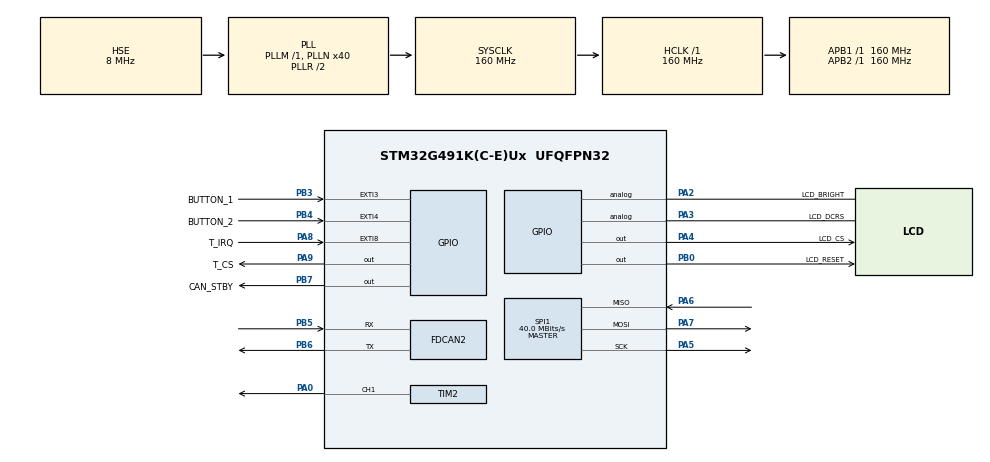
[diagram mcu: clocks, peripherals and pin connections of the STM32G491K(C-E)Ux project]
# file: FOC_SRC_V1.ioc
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Dma.Request0=SPI1_RX
Dma.Request1=TIM2_CH1
Dma.SPI1_RX.0.Direction=DMA_PERIPH_TO_MEMORY
Dma.SPI1_RX.0.EventEnable=DISABLE
Dma.SPI1_RX.0.Instance=DMA1_Channel1
Dma.SPI1_RX.0.MemDataAlignment=DMA_MDATAALIGN_BYTE
Dma.SPI1_RX.0.MemInc=DMA_MINC_ENABLE
Dma.SPI1_RX.0.Mode=DMA_NORMAL
Dma.SPI1_RX.0.PeriphDataAlignment=DMA_PDATAALIGN_BYTE
Dma.SPI1_RX.0.PeriphInc=DMA_PINC_DISABLE
Dma.SPI1_RX.0.Polarity=HAL_DMAMUX_REQ_GEN_RISING
Dma.SPI1_RX.0.Priority=DMA_PRIORITY_LOW
Dma.SPI1_RX.0.RequestNumber=1
Dma.SPI1_RX.0.SignalID=NONE
Dma.SPI1_RX.0.SyncEnable=DISABLE
Dma.SPI1_RX.0.SyncPolarity=HAL_DMAMUX_SYNC_NO_EVENT
Dma.SPI1_RX.0.SyncRequestNumber=1
Dma.SPI1_RX.0.SyncSignalID=NONE
Dma.TIM2_CH1.1.Direction=DMA_MEMORY_TO_PERIPH
Dma.TIM2_CH1.1.EventEnable=DISABLE
Dma.TIM2_CH1.1.Instance=DMA1_Channel2
Dma.TIM2_CH1.1.MemDataAlignment=DMA_MDATAALIGN_BYTE
Dma.TIM2_CH1.1.MemInc=DMA_MINC_ENABLE
Dma.TIM2_CH1.1.Mode=DMA_NORMAL
Dma.TIM2_CH1.1.PeriphDataAlignment=DMA_PDATAALIGN_WORD
Dma.TIM2_CH1.1.PeriphInc=DMA_PINC_DISABLE
Dma.TIM2_CH1.1.Polarity=HAL_DMAMUX_REQ_GEN_RISING
Dma.TIM2_CH1.1.Priority=DMA_PRIORITY_LOW
Dma.TIM2_CH1.1.RequestNumber=1
Dma.TIM2_CH1.1.SignalID=NONE
Dma.TIM2_CH1.1.SyncEnable=DISABLE
Dma.TIM2_CH1.1.SyncPolarity=HAL_DMAMUX_SYNC_NO_EVENT
Dma.TIM2_CH1.1.SyncRequestNumber=1
Dma.TIM2_CH1.1.SyncSignalID=NONE
FDCAN2.AutoRetransmission=DISABLE
FDCAN2.CalculateBaudRateNominal=1000000
FDCAN2.CalculateTimeBitNominal=1000
FDCAN2.CalculateTimeQuantumNominal=125.0
FDCAN2.DataPrescaler=1
FDCAN2.DataSyncJumpWidth=1
FDCAN2.DataTimeSeg1=1
FDCAN2.DataTimeSeg2=2
FDCAN2.FrameFormat=FDCAN_FRAME_FD_BRS
FDCAN2.Mode=FDCAN_MODE_NORMAL
FDCAN2.NominalPrescaler=1
FDCAN2.NominalSyncJumpWidth=2
FDCAN2.NominalTimeSeg1=5
FDCAN2.NominalTimeSeg2=2
FDCAN2.StdFiltersNbr=5
FREERTOS.BinarySemaphores01=canSemaphore,Static,canSemaphoreControlBlock,Depleted
FREERTOS.Tasks01=defaultTask,24,512,StartDefaultTask,Default,NULL,Static,defaultTaskBuffer,defaultTaskControlBlock;canReceiveMsg,25,512,StartCanReceive,Default,NULL,Static,CanReceiveMsgBuffer,CanReceiveMsgControlBlock;canSendMsg,26,512,StartCanSend,Default,NULL,Static,CanSendMsgBuffer,CanSendMsgControlBlock
FREERTOS.configENABLE_FPU=1
FREERTOS.configUSE_NEWLIB_REENTRANT=1
FREERTOS.copyHeapFile=1
Mcu.Family=STM32G4
Mcu.Name=STM32G491K(C-E)Ux
Mcu.Package=UFQFPN32
NVIC.DMA1_Channel1_IRQn=true\:5\:0\:false\:false\:true\:true\:true\:true\:true
NVIC.DMA1_Channel2_IRQn=true\:5\:0\:false\:false\:true\:true\:true\:true\:true
NVIC.EXTI3_IRQn=true\:5\:0\:false\:false\:true\:true\:true\:true\:true
NVIC.EXTI4_IRQn=true\:5\:0\:false\:false\:true\:true\:true\:true\:true
NVIC.EXTI9_5_IRQn=true\:5\:0\:false\:false\:true\:true\:true\:true\:true
NVIC.FDCAN2_IT0_IRQn=true\:5\:0\:false\:false\:true\:true\:true\:true\:true
NVIC.FDCAN2_IT1_IRQn=true\:5\:0\:false\:false\:true\:true\:true\:true\:true
NVIC.PriorityGroup=NVIC_PRIORITYGROUP_4
NVIC.TIM20_UP_IRQn=true\:15\:0\:false\:false\:true\:false\:false\:true\:true
NVIC.TIM2_IRQn=true\:5\:0\:false\:false\:true\:true\:true\:true\:true
NVIC.TimeBase=TIM20_UP_IRQn
NVIC.TimeBaseIP=TIM20
PA0.Signal=S_TIM2_CH1
PA13.Mode=Serial_Wire
PA13.Signal=SYS_JTMS-SWDIO
PA14.Mode=Serial_Wire
PA14.Signal=SYS_JTCK-SWCLK
PA2.GPIO_Label=LCD_BRIGHT
PA2.Signal=GPIO_Analog
PA3.GPIO_Label=LCD_DCRS
PA3.Signal=GPIO_Analog
PA4.GPIO_Label=LCD_CS
PA4.Signal=GPIO_Output
PA5.Mode=Full_Duplex_Master
PA5.Signal=SPI1_SCK
PA6.Mode=Full_Duplex_Master
PA6.Signal=SPI1_MISO
PA7.Mode=Full_Duplex_Master
PA7.Signal=SPI1_MOSI
PA8.GPIO_Label=T_IRQ
PA8.Signal=GPXTI8
PA9.GPIO_Label=T_CS
PA9.Signal=GPIO_Output
PB0.GPIO_Label=LCD_RESET
PB0.Signal=GPIO_Output
PB3.GPIO_Label=BUTTON_1
PB3.GPIO_ModeDefaultEXTI=GPIO_MODE_IT_RISING
PB3.GPIO_PuPd=GPIO_PULLUP
PB3.Signal=GPXTI3
PB4.GPIO_Label=BUTTON_2
PB4.GPIO_ModeDefaultEXTI=GPIO_MODE_IT_FALLING
PB4.GPIO_PuPd=GPIO_PULLUP
PB4.Signal=GPXTI4
PB5.GPIO_Mode=GPIO_MODE_AF_PP
PB5.GPIO_PuPd=GPIO_PULLUP
PB5.GPIO_Speed=GPIO_SPEED_FREQ_LOW
PB5.Mode=FDCAN_Activate
PB5.Signal=FDCAN2_RX
PB6.GPIO_FM6=__NULL
PB6.GPIO_Mode=GPIO_MODE_AF_PP
PB6.GPIO_PuPd=GPIO_NOPULL
PB6.GPIO_Speed=GPIO_SPEED_FREQ_LOW
PB6.Mode=FDCAN_Activate
PB6.Signal=FDCAN2_TX
PB7.GPIO_Label=CAN_STBY
PB7.GPIO_PuPd=GPIO_NOPULL
PB7.Signal=GPIO_Output
PF0-OSC_IN.Mode=HSE-External-Clock-Source
PF0-OSC_IN.Signal=RCC_OSC_IN
ProjectManager.HeapSize=0x400
ProjectManager.StackSize=0x800
ProjectManager.TargetToolchain=STM32CubeIDE
RCC.ADC12Freq_Value=160000000
RCC.ADC345Freq_Value=160000000
RCC.AHBFreq_Value=160000000
RCC.APB1Freq_Value=160000000
RCC.APB1TimFreq_Value=160000000
RCC.APB2Freq_Value=160000000
RCC.APB2TimFreq_Value=160000000
RCC.CortexFreq_Value=160000000
RCC.EXTERNAL_CLOCK_VALUE=12288000
RCC.FDCANCLockSelection=RCC_FDCANCLKSOURCE_HSE
RCC.HCLKFreq_Value=160000000
RCC.HSE_VALUE=8000000
RCC.HSI48_VALUE=48000000
RCC.HSI_VALUE=16000000
RCC.LSE_VALUE=32768
RCC.PLLN=40
RCC.PLLQ=RCC_PLLQ_DIV4
RCC.PLLSourceVirtual=RCC_PLLSOURCE_HSE
RCC.SYSCLKFreq_VALUE=160000000
RCC.SYSCLKSource=RCC_SYSCLKSOURCE_PLLCLK
RCC.USBFreq_Value=48000000
RCC.VCOOutputFreq_Value=320000000
SH.S_TIM2_CH1.0=TIM2_CH1,PWM Generation1 CH1
SPI1.BaudRatePrescaler=SPI_BAUDRATEPRESCALER_4
SPI1.CalculateBaudRate=40.0 MBits/s
SPI1.Direction=SPI_DIRECTION_2LINES
SPI1.Mode=SPI_MODE_MASTER
SPI1.VirtualType=VM_MASTER
TIM1.AutoReloadPreload=TIM_AUTORELOAD_PRELOAD_ENABLE
TIM2.AutoReloadPreload=TIM_AUTORELOAD_PRELOAD_ENABLE
TIM2.Channel-PWM\ Generation1\ CH1=TIM_CHANNEL_1
TIM2.PeriodNoDither=100-1
TIM2.Prescaler=2-1
TIM3.AutoReloadPreload=TIM_AUTORELOAD_PRELOAD_ENABLE
VP_FREERTOS_VS_CMSIS_V2.Mode=CMSIS_V2
VP_SYS_VS_DBSignals.Mode=DisableDeadBatterySignals
VP_SYS_VS_tim20.Mode=TIM20
VP_TIM1_VS_ClockSourceINT.Mode=Internal
VP_TIM2_VS_ClockSourceINT.Mode=Internal
VP_TIM3_VS_ClockSourceINT.Mode=Internal
board=custom

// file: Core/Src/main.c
/* USER CODE BEGIN Header */
/**
  ******************************************************************************
  * @file           : main.c
  * @brief          : Main program body
  ******************************************************************************
  * @attention
  *
  * Copyright (c) 2025 STMicroelectronics.
  * All rights reserved.
  *
  * This software is licensed under terms that can be found in the LICENSE file
  * in the root directory of this software component.
  * If no LICENSE file comes with this software, it is provided AS-IS.
  *
  ******************************************************************************
  */
/* USER CODE END Header */
#include "main.h"
#include "cmsis_os.h"
#include "dma.h"
#include "fdcan.h"
#include "spi.h"
#include "tim.h"
#include "gpio.h"

void SystemClock_Config(void);
void MX_FREERTOS_Init(void);

int main(void)
{

  /* MCU Configuration--------------------------------------------------------*/

  /* Reset of all peripherals, Initializes the Flash interface and the Systick. */
  HAL_Init();

  /* Configure the system clock */
  SystemClock_Config();

  /* Initialize all configured peripherals */
  MX_GPIO_Init();
  MX_DMA_Init();
  MX_FDCAN2_Init();
  MX_TIM1_Init();
  MX_TIM3_Init();
  MX_TIM2_Init();
  MX_SPI1_Init();

  /* Init scheduler */
  osKernelInitialize();

  /* Call init function for freertos objects (in cmsis_os2.c) */
  MX_FREERTOS_Init();

  /* Start scheduler */
  osKernelStart();

  /* We should never get here as control is now taken by the scheduler */

  /* Infinite loop */
  while (1)
  {

  }
}

void SystemClock_Config(void)
{
  RCC_OscInitTypeDef RCC_OscInitStruct = {0};
  RCC_ClkInitTypeDef RCC_ClkInitStruct = {0};

  /** Configure the main internal regulator output voltage
  */
  HAL_PWREx_ControlVoltageScaling(PWR_REGULATOR_VOLTAGE_SCALE1_BOOST);

  /** Initializes the RCC Oscillators according to the specified parameters
  * in the RCC_OscInitTypeDef structure.
  */
  RCC_OscInitStruct.OscillatorType = RCC_OSCILLATORTYPE_HSE;
  RCC_OscInitStruct.HSEState = RCC_HSE_BYPASS;
  RCC_OscInitStruct.PLL.PLLState = RCC_PLL_ON;
  RCC_OscInitStruct.PLL.PLLSource = RCC_PLLSOURCE_HSE;
  RCC_OscInitStruct.PLL.PLLM = RCC_PLLM_DIV1;
  RCC_OscInitStruct.PLL.PLLN = 40;
  RCC_OscInitStruct.PLL.PLLP = RCC_PLLP_DIV2;
  RCC_OscInitStruct.PLL.PLLQ = RCC_PLLQ_DIV4;
  RCC_OscInitStruct.PLL.PLLR = RCC_PLLR_DIV2;
  if (HAL_RCC_OscConfig(&RCC_OscInitStruct) != HAL_OK)
  {
    Error_Handler();
  }

  /** Initializes the CPU, AHB and APB buses clocks
  */
  RCC_ClkInitStruct.ClockType = RCC_CLOCKTYPE_HCLK|RCC_CLOCKTYPE_SYSCLK
                              |RCC_CLOCKTYPE_PCLK1|RCC_CLOCKTYPE_PCLK2;
  RCC_ClkInitStruct.SYSCLKSource = RCC_SYSCLKSOURCE_PLLCLK;
  RCC_ClkInitStruct.AHBCLKDivider = RCC_SYSCLK_DIV1;
  RCC_ClkInitStruct.APB1CLKDivider = RCC_HCLK_DIV1;
  RCC_ClkInitStruct.APB2CLKDivider = RCC_HCLK_DIV1;

  if (HAL_RCC_ClockConfig(&RCC_ClkInitStruct, FLASH_LATENCY_4) != HAL_OK)
  {
    Error_Handler();
  }
}

void HAL_TIM_PeriodElapsedCallback(TIM_HandleTypeDef *htim)
{
  if (htim->Instance == TIM20) {
    HAL_IncTick();
  }
}

void Error_Handler(void)
{
  __disable_irq();
  while (1)
  {
  }
}

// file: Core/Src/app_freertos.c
/* USER CODE BEGIN Header */
/**
 ******************************************************************************
 * File Name          : app_freertos.c
 * Description        : Code for freertos applications
 ******************************************************************************
 * @attention
 *
 * Copyright (c) 2025 STMicroelectronics.
 * All rights reserved.
 *
 * This software is licensed under terms that can be found in the LICENSE file
 * in the root directory of this software component.
 * If no LICENSE file comes with this software, it is provided AS-IS.
 *
 ******************************************************************************
 */
/* USER CODE END Header */

#include "FreeRTOS.h"
#include "cmsis_os.h"
#include "cmsis_os2.h"
#include "main.h"
#include "task.h"

/* USER CODE BEGIN Includes */
#include "ecocar_can.h"
#include "exported_typedef.h"
#include "fdcan.h"
#include "tim.h"
#include "ws2812.h"
#include <math.h>
#include <stdint.h>
#include <string.h>
#include <stdbool.h>
/* USER CODE END Includes */

typedef StaticTask_t osStaticThreadDef_t;
typedef StaticSemaphore_t osStaticSemaphoreDef_t;
/* USER CODE BEGIN PTD */
typedef StaticQueue_t osStaticMessageQDef_t;
/* USER CODE END PTD */

/* USER CODE BEGIN Variables */
FDCAN_FccPack_t fcc_data;
FDCAN_FetPack_t fet_data;
FDCAN_H2Pack_t h2_data;
FDCAN_BOOSTPack_t boost_data;
uint8_t can_sync_led;

bool btn1_pressed = false;
uint32_t ticks, lastTicks = 0;

bool btn2_pressed = false;
uint32_t ticks2, lastTicks2 = 0;

rbState_t relay_state;
FDCAN_RelPackFc_t relay_fc_pack; // Fuel Cell Reading
FDCAN_RelPackCap_t relay_cap_pack;
FDCAN_RelPackMtr_t relay_motor_pack;
/* USER CODE END Variables */
/* Definitions for defaultTask */
osThreadId_t defaultTaskHandle;
uint32_t defaultTaskBuffer[512];
osStaticThreadDef_t defaultTaskControlBlock;
const osThreadAttr_t defaultTask_attributes = {
    .name = "defaultTask",
    .stack_mem = &defaultTaskBuffer[0],
    .stack_size = sizeof(defaultTaskBuffer),
    .cb_mem = &defaultTaskControlBlock,
    .cb_size = sizeof(defaultTaskControlBlock),
    .priority = (osPriority_t)osPriorityNormal,
};
/* Definitions for canReceiveMsg */
osThreadId_t canReceiveMsgHandle;
uint32_t CanReceiveMsgBuffer[512];
osStaticThreadDef_t CanReceiveMsgControlBlock;
const osThreadAttr_t canReceiveMsg_attributes = {
    .name = "canReceiveMsg",
    .stack_mem = &CanReceiveMsgBuffer[0],
    .stack_size = sizeof(CanReceiveMsgBuffer),
    .cb_mem = &CanReceiveMsgControlBlock,
    .cb_size = sizeof(CanReceiveMsgControlBlock),
    .priority = (osPriority_t)osPriorityNormal1,
};
/* Definitions for canSendMsg */
osThreadId_t canSendMsgHandle;
uint32_t CanSendMsgBuffer[512];
osStaticThreadDef_t CanSendMsgControlBlock;
const osThreadAttr_t canSendMsg_attributes = {
    .name = "canSendMsg",
    .stack_mem = &CanSendMsgBuffer[0],
    .stack_size = sizeof(CanSendMsgBuffer),
    .cb_mem = &CanSendMsgControlBlock,
    .cb_size = sizeof(CanSendMsgControlBlock),
    .priority = (osPriority_t)osPriorityNormal2,
};
/* Definitions for canSemaphore */
osSemaphoreId_t canSemaphoreHandle;
osStaticSemaphoreDef_t canSemaphoreControlBlock;
const osSemaphoreAttr_t canSemaphore_attributes = {
    .name = "canSemaphore",
    .cb_mem = &canSemaphoreControlBlock,
    .cb_size = sizeof(canSemaphoreControlBlock),
};

/* USER CODE BEGIN FunctionPrototypes */
/* Definitions for canQueRxHeader */
osMessageQueueId_t canQueRxHeaderHandle;
uint8_t canReceiveQueBuffer[512 * sizeof(uint32_t)];
osStaticMessageQDef_t canReceiveQueControlBlock;
const osMessageQueueAttr_t canQueRxHeader_attributes = {
    .name = "canQueRxHeader",
    .cb_mem = &canReceiveQueControlBlock,
    .cb_size = sizeof(canReceiveQueControlBlock),
    .mq_mem = &canReceiveQueBuffer,
    .mq_size = sizeof(canReceiveQueBuffer)};
/* Definitions for canQueRxData */
osMessageQueueId_t canQueRxDataHandle;
uint8_t canQueRxDataBuffer[512 * sizeof(uint8_t)];
osStaticMessageQDef_t canQueRxDataControlBlock;
const osMessageQueueAttr_t canQueRxData_attributes = {
    .name = "canQueRxData",
    .cb_mem = &canQueRxDataControlBlock,
    .cb_size = sizeof(canQueRxDataControlBlock),
    .mq_mem = &canQueRxDataBuffer,
    .mq_size = sizeof(canQueRxDataBuffer)};

// Callback needed for LEDs
void HAL_TIM_PWM_PulseFinishedCallback(TIM_HandleTypeDef *htim)
{
  if (htim->Instance == htim2.Instance)
  {
    WS2812_Callback();
  }
}

void HAL_FDCAN_RxFifo0Callback(FDCAN_HandleTypeDef *hfdcan,
                               uint32_t RxFifo0ITs)
{
  FDCAN_RxHeaderTypeDef RxHeader;
  uint8_t RxData[64];
  if ((RxFifo0ITs & FDCAN_IT_RX_FIFO0_NEW_MESSAGE) != RESET)
  {
    /* Retreive Rx messages from RX FIFO0 */
    if (HAL_FDCAN_GetRxMessage(hfdcan, FDCAN_RX_FIFO0, &RxHeader, RxData) !=
        HAL_OK)
    {
      /* Reception Error */
      Error_Handler();
    }
    if (HAL_FDCAN_ActivateNotification(hfdcan, FDCAN_IT_RX_FIFO0_NEW_MESSAGE,
                                       0) != HAL_OK)
    {
      /* Notification Error */
      Error_Handler();
    }
    osMessageQueuePut(canQueRxHeaderHandle, &RxHeader.Identifier, 0, 0);
    osMessageQueuePut(canQueRxHeaderHandle, &RxHeader.DataLength, 0, 0);
    for (uint32_t i = 0; i < mapDlcToBytes(RxHeader.DataLength); i++)
    {
      osMessageQueuePut(canQueRxDataHandle, &RxData[i], 0, 0);
    }
  }
}
/* USER CODE END FunctionPrototypes */

void StartDefaultTask(void *argument);
void StartCanReceive(void *argument);
void StartCanSend(void *argument);

void MX_FREERTOS_Init(void); /* (MISRA C 2004 rule 8.1) */

void MX_FREERTOS_Init(void)
{

  /* Create the semaphores(s) */
  /* creation of canSemaphore */
  canSemaphoreHandle = osSemaphoreNew(1, 0, &canSemaphore_attributes);

  /* USER CODE BEGIN RTOS_QUEUES */
  /* add queues, ... */
  canQueRxHeaderHandle =
      osMessageQueueNew(512, sizeof(uint32_t), &canQueRxHeader_attributes);

  /* creation of canQueRxData */
  canQueRxDataHandle =
      osMessageQueueNew(512, sizeof(uint8_t), &canQueRxData_attributes);
  /* USER CODE END RTOS_QUEUES */

  /* Create the thread(s) */
  /* creation of defaultTask */
  defaultTaskHandle =
      osThreadNew(StartDefaultTask, NULL, &defaultTask_attributes);

  /* creation of canReceiveMsg */
  canReceiveMsgHandle =
      osThreadNew(StartCanReceive, NULL, &canReceiveMsg_attributes);

  /* creation of canSendMsg */
  canSendMsgHandle = osThreadNew(StartCanSend, NULL, &canSendMsg_attributes);

}

void StartDefaultTask(void *argument)
{
  /* USER CODE BEGIN StartDefaultTask */
  if (WS2812_Init() != HAL_OK)
  {
    Error_Handler();
  }

  /* Infinite loop */
  HAL_StatusTypeDef hal_stat;
  for (;;)
  {
    switch (relay_state)
    {
    case RELAY_STBY:
      hal_stat = WS2812_Standby_Animation(500);
      // hal_stat = WS2812_Startup_Animation(500);
      // hal_stat = WS2812_Charging_Animation(500);
      // hal_stat = WS2812_Running_Animation(100);
      break;
    case RELAY_STRTP:
      hal_stat = WS2812_Startup_Animation(500);
      break;
    case RELAY_CHRGE:
      hal_stat = WS2812_Charging_Animation(400);
      break;
    case RELAY_RUN:
      hal_stat = WS2812_Running_Animation(300);
      break;
    default:
      hal_stat = WS2812_Startup_Animation(400);
      break;
    }
    /* USER CODE END StartDefaultTask */
  }
}

/* USER CODE BEGIN Header_StartCanReceive */
/**
 * @brief Function implementing the canReceiveMsg thread.333
 * @param argument: Not used
 * @retval None
 */
/* USER CODE END Header_StartCanReceive */
void StartCanReceive(void *argument)
{
  /* USER CODE BEGIN StartCanReceive */
  /**
   * THIS SECTION OF CODE UTILIZES A HIGHER PRIORITY SO NO BLOCKING
   * IS ALLOWED TO BE USED OTHER THAN THE SEMAPHORE
   */
  UNUSED(argument);
  FDCAN_RxHeaderTypeDef localRxHeader = {0};
  uint8_t ret[64] = {0};
  /* Infinite loop */
  for (;;)
  {
    if (osMessageQueueGet(canQueRxHeaderHandle, &localRxHeader.Identifier, 0,
                          osWaitForever) == osOK)
    {
      if (osMessageQueueGet(canQueRxHeaderHandle, &localRxHeader.DataLength, 0,
                            0) != osOK)
      {
        Error_Handler();
      }
      for (uint8_t i = 0; i < mapDlcToBytes(localRxHeader.DataLength); i++)
      {
        if (osMessageQueueGet(canQueRxDataHandle, &ret[i], 0, 0) != osOK)
        {
          Error_Handler();
        }
      }
      switch (localRxHeader.Identifier)
      {
      case FDCAN_H2ALARM_ID:
        // H2 ALARM
        if (ret[0] == 1)
        {
        }
        break;
      case FDCAN_SYNCLED_ID:
        // CAN SYNC LED
        can_sync_led = ret[0];
        break;
      case FDCAN_FCCPACK_ID:
        memcpy(&fcc_data, ret, mapDlcToBytes(localRxHeader.DataLength));
        break;
      case FDCAN_FETPACK_ID:
        memcpy(&fet_data, ret, mapDlcToBytes(localRxHeader.DataLength));
        break;
      case FDCAN_H2PACK_ID:
        memcpy(&h2_data, ret, mapDlcToBytes(localRxHeader.DataLength));
        break;
      case FDCAN_BOOSTPACK_ID:
        memcpy(&boost_data, ret, mapDlcToBytes(localRxHeader.DataLength));
        break;
      case FDCAN_RELSTATE_ID:
        relay_state = ret[0];
        // memcpy(&relay_state, ret, mapDlcToBytes(localRxHeader.DataLength));
        break;
      case FDCAN_RELPACKFC_ID:
        memcpy(&relay_fc_pack, ret, mapDlcToBytes(localRxHeader.DataLength));
        break;
      case FDCAN_RELPACKCAP_ID:
        memcpy(&relay_cap_pack, ret, mapDlcToBytes(localRxHeader.DataLength));
        break;
      case FDCAN_RELPACKMTR_ID:
        memcpy(&relay_motor_pack, ret, mapDlcToBytes(localRxHeader.DataLength));
        break;
      default:
        break;
      }
    }
  }
  osDelay(1);
  /* USER CODE END StartCanReceive */
}

void StartCanSend(void *argument)
{
  /* USER CODE BEGIN StartCanSend */
  UNUSED(argument);
  FDCAN_TxHeaderTypeDef localTxHeader;
  const uint8_t msg_delay = 10;
  uint8_t fet_TxData[64] = {0};

  localTxHeader.IdType = FDCAN_STANDARD_ID;
  localTxHeader.TxFrameType = FDCAN_DATA_FRAME;
  localTxHeader.ErrorStateIndicator = FDCAN_ESI_ACTIVE;
  localTxHeader.BitRateSwitch = FDCAN_BRS_OFF;
  localTxHeader.FDFormat = FDCAN_CLASSIC_CAN;
  localTxHeader.TxEventFifoControl = FDCAN_NO_TX_EVENTS;
  localTxHeader.MessageMarker = 0;
  /* Infinite loop */
  for (;;)
  {
    if (btn1_pressed)
    {
      localTxHeader.Identifier = FDCAN_UPDATESTATE_ID;
      localTxHeader.DataLength = FDCAN_DLC_BYTES_1;
      const rbState_t next_state = (relay_state == RELAY_STBY) ? RELAY_STRTP : RELAY_STBY;
      if (HAL_FDCAN_AddMessageToTxFifoQ(&hfdcan2, &localTxHeader, &next_state) != HAL_OK)
      {
        Error_Handler();
      }
      btn1_pressed = false;
    }
    osDelay(msg_delay);
  }
  /* USER CODE END StartCanSend */
}

/* USER CODE BEGIN Application */
void HAL_GPIO_EXTI_Callback(uint16_t GPIO_Pin)
{
  switch (GPIO_Pin)
  {
  case BUTTON_1_Pin:
    ticks = osKernelGetTickCount();
    if (ticks - lastTicks >= 1000)
    {
      lastTicks = ticks;
      // Trigger a FET state change
      // SET_BIT(button_flags, 0x01);
      btn1_pressed = true;
    }
    break;
  case BUTTON_2_Pin:
    ticks2 = osKernelGetTickCount();
    if (ticks2 - lastTicks2 >= 1000)
    {
      lastTicks2 = ticks2;
      // Trigger a FET state change
      // SET_BIT(button_flags, 0x01);
      btn2_pressed = true;
    }
    break;
  }
}
/* USER CODE END Application */
